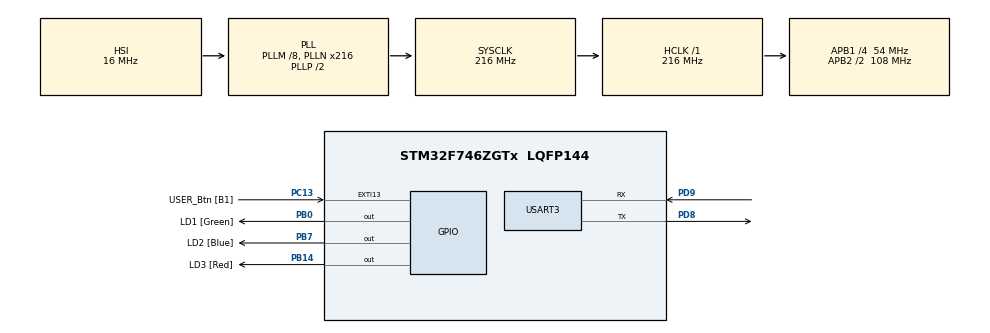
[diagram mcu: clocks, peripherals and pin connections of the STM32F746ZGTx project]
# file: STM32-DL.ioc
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Mcu.Family=STM32F7
Mcu.Name=STM32F746ZGTx
Mcu.Package=LQFP144
NVIC.EXTI15_10_IRQn=true\:0\:0\:false\:false\:true\:true
NVIC.PriorityGroup=NVIC_PRIORITYGROUP_4
PA14.GPIO_Label=TCK
PA14.Signal=SYS_JTCK-SWCLK
PB0.GPIO_Label=LD1 [Green]
PB0.Signal=GPIO_Output
PB14.GPIO_Label=LD3 [Red]
PB14.Signal=GPIO_Output
PB3.GPIO_Label=SW0
PB3.Signal=SYS_JTDO-SWO
PB7.GPIO_Label=LD2 [Blue]
PB7.Signal=GPIO_Output
PC13.GPIO_Label=USER_Btn [B1]
PC13.Signal=GPXTI13
PD8.Mode=Asynchronous
PD8.Signal=USART3_TX
PD9.Mode=Asynchronous
PD9.Signal=USART3_RX
ProjectManager.HeapSize=0x2000
ProjectManager.StackSize=0x400
ProjectManager.TargetToolchain=SW4STM32
RCC.48MHZClocksFreq_Value=24000000
RCC.AHBFreq_Value=216000000
RCC.APB1CLKDivider=RCC_HCLK_DIV4
RCC.APB1Freq_Value=54000000
RCC.APB1TimFreq_Value=108000000
RCC.APB2CLKDivider=RCC_HCLK_DIV2
RCC.APB2Freq_Value=108000000
RCC.APB2TimFreq_Value=216000000
RCC.CortexFreq_Value=216000000
RCC.HCLKFreq_Value=216000000
RCC.HSE_VALUE=8000000
RCC.HSI_VALUE=16000000
RCC.LSE_VALUE=32768
RCC.PLLM=8
RCC.PLLMUL=RCC_PLL_MUL9
RCC.PLLN=216
RCC.PRESCALERUSB=RCC_USBCLKSOURCE_PLL_DIV1_5
RCC.SYSCLKFreq_VALUE=216000000
RCC.SYSCLKSource=RCC_SYSCLKSOURCE_PLLCLK
RCC.SYSCLKSourceVirtual=RCC_SYSCLKSOURCE_PLLCLK
RCC.USBFreq_Value=216000000
RCC.VCOOutputFreq_Value=432000000
USART3.VirtualMode-Asynchronous=VM_ASYNC
board=NUCLEO-F746ZG

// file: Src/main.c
/* USER CODE BEGIN Header */
/**
  ******************************************************************************
  * @file           : main.c
  * @brief          : Main program body
  ******************************************************************************
  ** This notice applies to any and all portions of this file
  * that are not between comment pairs USER CODE BEGIN and
  * USER CODE END. Other portions of this file, whether
  * inserted by the user or by software development tools
  * are owned by their respective copyright owners.
  *
  * COPYRIGHT(c) 2019 STMicroelectronics
  *
  * Redistribution and use in source and binary forms, with or without modification,
  * are permitted provided that the following conditions are met:
  *   1. Redistributions of source code must retain the above copyright notice,
  *      this list of conditions and the following disclaimer.
  *   2. Redistributions in binary form must reproduce the above copyright notice,
  *      this list of conditions and the following disclaimer in the documentation
  *      and/or other materials provided with the distribution.
  *   3. Neither the name of STMicroelectronics nor the names of its contributors
  *      may be used to endorse or promote products derived from this software
  *      without specific prior written permission.
  *
  * THIS SOFTWARE IS PROVIDED BY THE COPYRIGHT HOLDERS AND CONTRIBUTORS "AS IS"
  * AND ANY EXPRESS OR IMPLIED WARRANTIES, INCLUDING, BUT NOT LIMITED TO, THE
  * IMPLIED WARRANTIES OF MERCHANTABILITY AND FITNESS FOR A PARTICULAR PURPOSE ARE
  * DISCLAIMED. IN NO EVENT SHALL THE COPYRIGHT HOLDER OR CONTRIBUTORS BE LIABLE
  * FOR ANY DIRECT, INDIRECT, INCIDENTAL, SPECIAL, EXEMPLARY, OR CONSEQUENTIAL
  * DAMAGES (INCLUDING, BUT NOT LIMITED TO, PROCUREMENT OF SUBSTITUTE GOODS OR
  * SERVICES; LOSS OF USE, DATA, OR PROFITS; OR BUSINESS INTERRUPTION) HOWEVER
  * CAUSED AND ON ANY THEORY OF LIABILITY, WHETHER IN CONTRACT, STRICT LIABILITY,
  * OR TORT (INCLUDING NEGLIGENCE OR OTHERWISE) ARISING IN ANY WAY OUT OF THE USE
  * OF THIS SOFTWARE, EVEN IF ADVISED OF THE POSSIBILITY OF SUCH DAMAGE.
  *
  ******************************************************************************
  */
/* USER CODE END Header */

#include "main.h"
#include "usart.h"
#include "gpio.h"

/* USER CODE BEGIN Includes */
#include "nn.h"
/* USER CODE END Includes */

/* USER CODE BEGIN PD */
/* With GCC, small printf (option LD Linker->Libraries->Small printf
   set to 'Yes') calls __io_putchar() */
#include "stdio.h"
#ifdef __GNUC__
/* With GCC, small printf (option LD Linker->Libraries->Small printf
   set to 'Yes') calls __io_putchar() */
#define PUTCHAR_PROTOTYPE int __io_putchar(int ch)
#else
#define PUTCHAR_PROTOTYPE int fputc(int ch, FILE *f)
#endif /* __GNUC__ */

/* USER CODE END PD */

void SystemClock_Config(void);

int main(void)
{

  /* MCU Configuration--------------------------------------------------------*/

  /* Reset of all peripherals, Initializes the Flash interface and the Systick. */
  HAL_Init();

  /* Configure the system clock */
  SystemClock_Config();

  /* Initialize all configured peripherals */
  MX_GPIO_Init();
  MX_USART3_UART_Init();

  /* Infinite loop */
  while (1)
  {

    /* USER CODE BEGIN 3 */
    demo();
    HAL_GPIO_TogglePin(LD1_GPIO_Port, LD1_Pin);
    HAL_Delay(500);
  }
  /* USER CODE END 3 */
}

void SystemClock_Config(void)
{
  RCC_OscInitTypeDef RCC_OscInitStruct = {0};
  RCC_ClkInitTypeDef RCC_ClkInitStruct = {0};
  RCC_PeriphCLKInitTypeDef PeriphClkInitStruct = {0};

  /**Configure the main internal regulator output voltage
  */
  __HAL_RCC_PWR_CLK_ENABLE();
  __HAL_PWR_VOLTAGESCALING_CONFIG(PWR_REGULATOR_VOLTAGE_SCALE1);
  /**Initializes the CPU, AHB and APB busses clocks
  */
  RCC_OscInitStruct.OscillatorType = RCC_OSCILLATORTYPE_HSI;
  RCC_OscInitStruct.HSIState = RCC_HSI_ON;
  RCC_OscInitStruct.HSICalibrationValue = RCC_HSICALIBRATION_DEFAULT;
  RCC_OscInitStruct.PLL.PLLState = RCC_PLL_ON;
  RCC_OscInitStruct.PLL.PLLSource = RCC_PLLSOURCE_HSI;
  RCC_OscInitStruct.PLL.PLLM = 8;
  RCC_OscInitStruct.PLL.PLLN = 216;
  RCC_OscInitStruct.PLL.PLLP = RCC_PLLP_DIV2;
  RCC_OscInitStruct.PLL.PLLQ = 2;
  if (HAL_RCC_OscConfig(&RCC_OscInitStruct) != HAL_OK)
  {
    Error_Handler();
  }
  /**Activate the Over-Drive mode
  */
  if (HAL_PWREx_EnableOverDrive() != HAL_OK)
  {
    Error_Handler();
  }
  /**Initializes the CPU, AHB and APB busses clocks
  */
  RCC_ClkInitStruct.ClockType = RCC_CLOCKTYPE_HCLK|RCC_CLOCKTYPE_SYSCLK
                              |RCC_CLOCKTYPE_PCLK1|RCC_CLOCKTYPE_PCLK2;
  RCC_ClkInitStruct.SYSCLKSource = RCC_SYSCLKSOURCE_PLLCLK;
  RCC_ClkInitStruct.AHBCLKDivider = RCC_SYSCLK_DIV1;
  RCC_ClkInitStruct.APB1CLKDivider = RCC_HCLK_DIV4;
  RCC_ClkInitStruct.APB2CLKDivider = RCC_HCLK_DIV2;

  if (HAL_RCC_ClockConfig(&RCC_ClkInitStruct, FLASH_LATENCY_7) != HAL_OK)
  {
    Error_Handler();
  }
  PeriphClkInitStruct.PeriphClockSelection = RCC_PERIPHCLK_USART3;
  PeriphClkInitStruct.Usart3ClockSelection = RCC_USART3CLKSOURCE_PCLK1;
  if (HAL_RCCEx_PeriphCLKConfig(&PeriphClkInitStruct) != HAL_OK)
  {
    Error_Handler();
  }
}

/* USER CODE BEGIN 4 */
PUTCHAR_PROTOTYPE
{
  /* Place your implementation of fputc here */
  /* e.g. write a character to the USART3 and Loop until the end of transmission */
  HAL_UART_Transmit(&huart3, (uint8_t *)&ch, 1, 0xFFFF);

  return ch;
}

int _write(int file, char *ptr, int len)
{
  int DataIdx;

  for (DataIdx = 0; DataIdx < len; DataIdx++)
  {
    __io_putchar(*ptr++);
  }
  return len;
}

/* USER CODE END 4 */

void Error_Handler(void)
{
}

/************************ (C) COPYRIGHT STMicroelectronics *****END OF FILE****/
